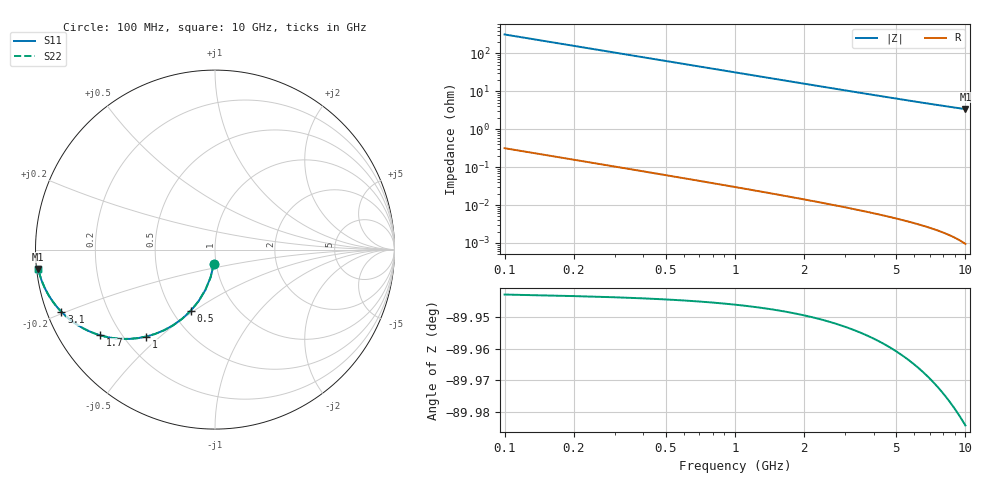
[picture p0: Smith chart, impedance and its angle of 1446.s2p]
# Hz S RI R 50.00
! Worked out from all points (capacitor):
!   100 points, 100 MHz to 10 GHz, reference 50 ohm
!   read as one part in shunt: C = 5.01 pF near 100 MHz
!   lowest |Z| = 3.41 ohm at 10 GHz (marker M1)
!   S11 on the Smith chart (normalised r, x): 100 MHz: 0.98, -0.15; 500 MHz: 0.62, -0.48; 1 GHz: 0.29, -0.45; 1.7 GHz: 0.12, -0.33; 3.1 GHz: 0.04, -0.19; 10 GHz: 0.00, -0.06
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1e8  -0.00613 -0.078  0.9937 -0.0783  0.9937 -0.0783  -0.00613 -0.078
2e8  -0.0242 -0.1532  0.9756 -0.1537  0.9756 -0.1537  -0.0242 -0.1532
3e8  -0.0529 -0.2231  0.9469 -0.2238  0.9469 -0.2238  -0.0529 -0.2231
4e8  -0.0902 -0.2857  0.9096 -0.2866  0.9096 -0.2866  -0.0902 -0.2857
5e8  -0.1341 -0.3398  0.8657 -0.341  0.8657 -0.341  -0.1341 -0.3398
6e8  -0.1824 -0.385  0.8174 -0.3865  0.8174 -0.3865  -0.1824 -0.385
7e8  -0.2328 -0.4213  0.767 -0.4231  0.767 -0.4231  -0.2328 -0.4213
8e8  -0.2838 -0.4494  0.716 -0.4514  0.716 -0.4514  -0.2838 -0.4494
1e9  -0.3824 -0.4842  0.6174 -0.4867  0.6174 -0.4867  -0.3824 -0.4842
1.3e9  -0.5112 -0.4977  0.4885 -0.501  0.4885 -0.501  -0.5112 -0.4977
1.5e9  -0.582 -0.4908  0.4178 -0.4945  0.4178 -0.4945  -0.582 -0.4908
1.7e9  -0.6414 -0.4769  0.3584 -0.4811  0.3584 -0.4811  -0.6414 -0.4769
1.8e9  -0.6672 -0.4684  0.3325 -0.4729  0.3325 -0.4729  -0.6672 -0.4684
2.1e9  -0.7319 -0.4398  0.2679 -0.445  0.2679 -0.445  -0.7319 -0.4398
2.4e9  -0.781 -0.41  0.2188 -0.4159  0.2188 -0.4159  -0.781 -0.41
3.1e9  -0.8562 -0.3463  0.1435 -0.3541  0.1435 -0.3541  -0.8562 -0.3463
3.4e9  -0.8775 -0.3229  0.1222 -0.3313  0.1222 -0.3313  -0.8775 -0.3229
4.2e9  -0.9164 -0.2708  0.0834 -0.2813  0.0834 -0.2813  -0.9164 -0.2708
5.1e9  -0.9418 -0.2268  0.0578 -0.2396  0.0578 -0.2396  -0.9418 -0.2268
6.7e9  -0.9657 -0.1725  0.034 -0.1895  0.034 -0.1895  -0.9657 -0.1725
8.4e9  -0.978 -0.1344  0.0215 -0.1559  0.0215 -0.1559  -0.978 -0.1344
1e10  -0.9845 -0.1086  0.0149 -0.1346  0.0149 -0.1346  -0.9845 -0.1086
